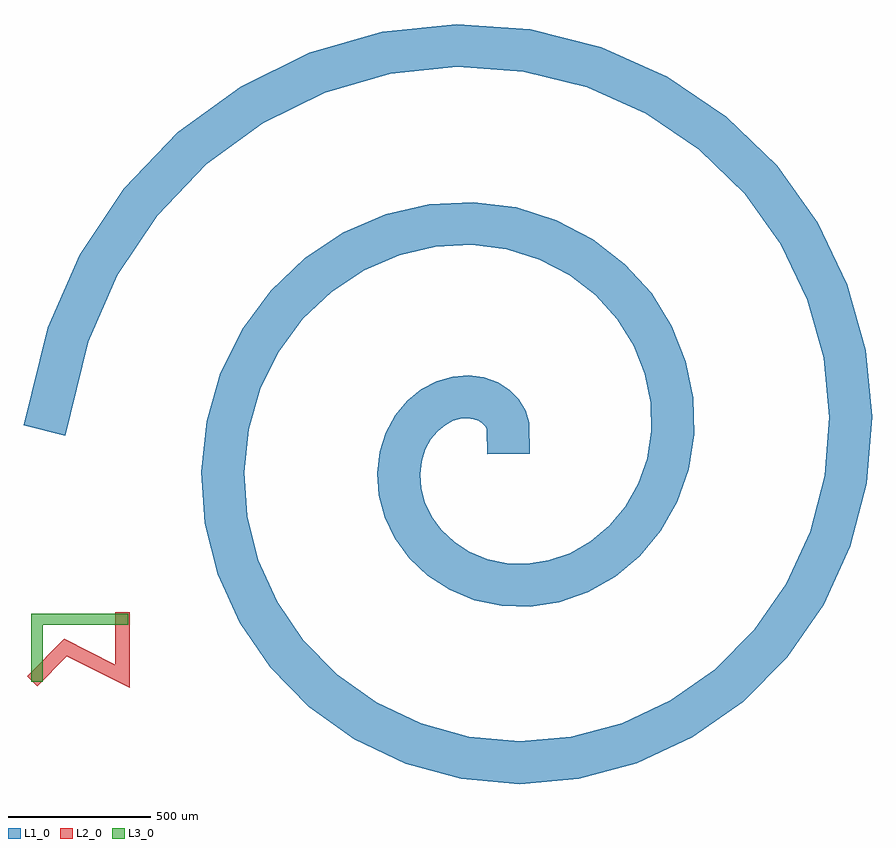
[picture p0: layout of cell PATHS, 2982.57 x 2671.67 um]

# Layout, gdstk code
import gdstk
lib = gdstk.Library(unit=1e-6, precision=1e-09)
L1_0 = (1, 0)
L2_0 = (2, 0)
L3_0 = (3, 0)

paths = lib.new_cell('PATHS')
paths.add(gdstk.FlexPath([(55.536,55.536),(55.059,78.633),(47.945,102.817),(33.879,126.439),(12.93,147.788),(-14.451,165.175),(-47.431,177.015),(-84.825,181.908),(-125.135,178.711),(-166.608,166.608),(-207.305,145.157),(-245.18,114.329),(-278.167,74.535),(-304.27,26.62),(-321.657,-28.141),(-328.742,-88.086),(-324.27,-151.21),(-307.383,-215.232),(-277.68,-277.68),(-235.254,-335.977),(-180.714,-387.542),(-115.19,-429.894),(-40.311,-460.752),(41.832,-478.139),(128.741,-480.47),(217.594,-466.633),(305.329,-436.055),(388.752,-388.752),(464.649,-325.351),(529.905,-247.099),(581.621,-155.845),(617.234,-54.001),(634.621,55.522),(632.197,169.397),(608.995,283.979),(564.728,395.426),(499.824,499.824),(415.448,593.321),(313.483,672.267),(196.5,733.348),(67.691,773.716),(-69.213,791.103),(-210.052,783.924),(-350.364,751.358),(-485.524,693.4),(-610.896,610.896),(-721.993,505.545),(-814.63,379.868),(-885.076,237.155),(-930.198,81.382),(-947.585,-82.903),(-935.652,-250.707),(-893.72,-416.749),(-822.072,-575.621),(-721.968,-721.968),(-595.642,-850.666),(-446.253,-956.992),(-277.811,-1036.803),(-95.072,-1086.68),(96.593,-1104.067),(291.362,-1087.379),(483.133,-1036.083),(665.718,-950.744),(833.041,-833.041),(979.338,-685.74),(1099.355,-512.638),(1188.53,-318.466),(1243.162,-108.763),(1260.549,110.284),(1239.106,332.017),(1178.445,549.518),(1079.416,755.815),(944.113,944.113),(775.837,1108.01),(579.022,1241.717),(359.121,1340.258),(122.453,1399.644),(-123.974,1417.031),(-372.673,1390.833),(-615.903,1320.808),(-845.912,1208.088),(-1055.185,1055.185),(-1236.682,865.934),(-1384.08,645.407),(-1491.985,399.776),(-1556.126,136.143)], 150, ends="round", simple_path=True, layer=1, datatype=0))  # L1_0
paths.add(gdstk.FlexPath([(-1600,-800),(-1500,-700),(-1300,-800),(-1300,-600)], 50, ends="extended", simple_path=True, layer=2, datatype=0))  # L2_0
paths.add(gdstk.FlexPath([(-1600,-800),(-1600,-600),(-1300,-600)], 40, ends="extended", simple_path=True, layer=3, datatype=0))  # L3_0

lib.write_gds('PATHS.gds')
